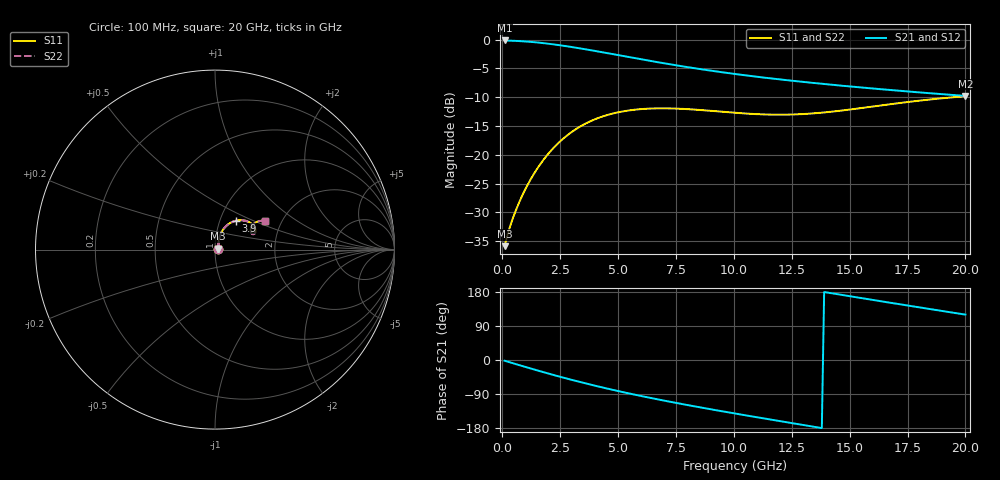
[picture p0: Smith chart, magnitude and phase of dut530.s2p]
! Touchstone file exported from HFSS 2024.1.0
!  File:  C:/UserFiles/LocalFiles/RDL_TSV_Batchsim/temp_RDL_TSV_530_1779744561.aedt
!  Generated:  05:46:19 AM May 26, 2026
!  Design:  RDL_TSV
!  Project:  temp_RDL_TSV_530_1779744561
!  Setup:  Setup1
!  Solution:  Sweep
! Variables:
!  dtsv = 5.21um
!  hbump = 3um
!  htsv = 61.03um
!  ldown = 529.13um
!  lrdl = 559.2um
!  p = 40
!  p1 = 50.1um
!  rhole = 10um
!  subl = 3824.19um
!  t = 450um
!  tdown = 3.94um
!  trdl = 4.14um
!  viad = 10um
!  wdown = 28.05um
!  wrdl = 25.07um
!  xbump = 18um
# GHz S MA R 50.000000
! Terminal data exported
! Port[1] = TM1_1_T1
! Port[2] = TM1_4_T1
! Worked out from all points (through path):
!   200 points, 100 MHz to 20 GHz, reference 50 ohm
!   highest |S21| = -0.13 dB at 100 MHz (marker M1); lowest = -9.8 dB at 20 GHz (marker M2)
!   group delay of S21, straight-line fit = 31.8 ps
!   lowest |S11| = -35.9 dB at 100 MHz (marker M3), VSWR 1.03, Z = 51.5 + j0.595 ohm
!   |S11| at or under -10 dB: start of sweep to 19.49 GHz
!   |S22| runs from -35.9 to -9.9 dB; largest |S21 - S12| = 1.8e-14
!   S11 on the Smith chart (normalised r, x): 100 MHz: 1.03, +0.01; 3.9 GHz: 1.19, +0.40; 20 GHz: 1.65, +0.59
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0.1  0.01606 21.1  0.9849 -1.9  0.9849 -1.9  0.01606 21.1
! Gamma 0 0 0 0
! Port Impedance 50 0 50 0
0.3  0.02269 41.5  0.9817 -5.7  0.9817 -5.7  0.0227 41.5
0.7  0.03738 59.7  0.9737 -13.0  0.9737 -13.0  0.03739 59.6
1.1  0.05516 67.4  0.9621 -20.2  0.9621 -20.2  0.05515 67.3
1.5  0.07538 70.1  0.9464 -27.3  0.9464 -27.3  0.07532 70.0
1.9  0.09719 70.0  0.9275 -34.2  0.9275 -34.2  0.09705 69.8
2.4  0.1253 67.5  0.9001 -42.7  0.9001 -42.7  0.125 67.3
2.9  0.1527 63.6  0.8699 -50.9  0.8699 -50.9  0.1522 63.4
3.5  0.1824 57.9  0.8316 -60.3  0.8316 -60.3  0.1818 57.8
3.9  0.1996 54.0  0.8055 -66.3  0.8055 -66.3  0.1988 53.8
4.6  0.2236 47.3  0.7601 -76.4  0.7601 -76.4  0.2227 47.1
5.4  0.2418 40.2  0.7105 -87.3  0.7105 -87.3  0.2407 40.1
6.8  0.2533 30.4  0.6329 -104.9  0.6329 -104.9  0.252 30.2
7.6  0.2516 26.4  0.5948 -114.4  0.5948 -114.4  0.2502 26.3
8.4  0.2463 23.7  0.561 -123.4  0.561 -123.4  0.2449 23.5
10.1  0.2314 21.9  0.5019 -141.8  0.5019 -141.8  0.23 21.8
11.7  0.2231 24.6  0.4586 -158.4  0.4586 -158.4  0.2219 24.5
13.4  0.2287 29.4  0.4216 -175.6  0.4216 -175.6  0.2274 29.3
15  0.2471 32.7  0.3926 168.4  0.3926 168.4  0.2458 32.7
16.7  0.2741 33.7  0.3662 151.6  0.3662 151.6  0.2727 33.6
18.3  0.2998 32.4  0.3447 136.1  0.3447 136.1  0.2982 32.3
20  0.3222 29.6  0.3249 119.8  0.3249 119.8  0.3203 29.5
